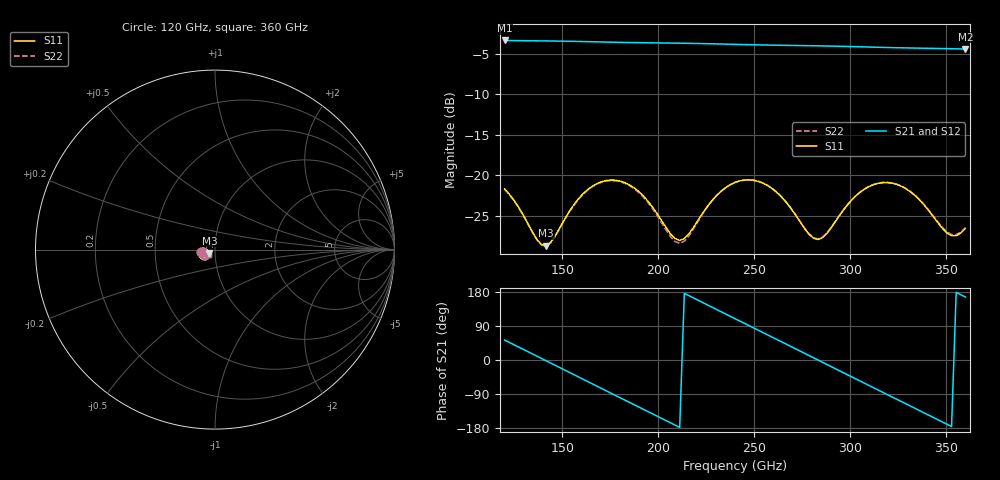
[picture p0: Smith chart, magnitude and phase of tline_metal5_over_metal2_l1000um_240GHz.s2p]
#  GHZ S DB R 50
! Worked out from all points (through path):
!   101 points, 120 GHz to 360 GHz, reference 50 ohm
!   highest |S21| = -3.39 dB at 120 GHz (marker M1); lowest = -4.4 dB at 360 GHz (marker M2)
!   group delay of S21, straight-line fit = 7.02 ps
!   lowest |S11| = -28.7 dB at 141.6 GHz (marker M3), VSWR 1.08, Z = 46.9 - j1.76 ohm
!   |S11| at or under -10 dB: start of sweep to end of sweep
!   |S22| runs from -28.8 to -20.6 dB; largest |S21 - S12| = 7.1e-14
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120  -21.72 -169.6  -3.39 52.6  -3.39 52.6  -21.75 -169.8
132  -25.94 -175.8  -3.42 22.4  -3.42 22.4  -25.97 -176.1
141.6  -28.72 -149.3  -3.45 -1.9  -3.45 -1.9  -28.78 -149.6
160.8  -22.33 -132.5  -3.52 -50.6  -3.52 -50.6  -22.39 -132.8
170.4  -20.83 -146.1  -3.57 -74.9  -3.57 -74.9  -20.89 -146.5
180  -20.73 -161.4  -3.62 -99.1  -3.62 -99.1  -20.81 -161.9
189.6  -21.98 -174.9  -3.66 -123.3  -3.66 -123.3  -22.10 -175.5
201.6  -25.56 179.9  -3.70 -153.6  -3.70 -153.6  -25.81 179.3
211.2  -28.06 -158.5  -3.72 -177.9  -3.72 -177.9  -28.42 -157.4
220.8  -25.56 -136.6  -3.76 157.7  -3.76 157.7  -25.68 -134.8
240  -20.92 -150.9  -3.87 109.1  -3.87 109.1  -20.91 -149.8
249.6  -20.64 -165.2  -3.92 84.9  -3.92 84.9  -20.63 -164.3
259.2  -21.64 -178.4  -3.96 60.7  -3.96 60.7  -21.62 -177.6
271.2  -24.82 174.0  -4.01 30.5  -4.01 30.5  -24.77 174.7
280.8  -27.79 -170.4  -4.04 6.2  -4.04 6.2  -27.72 -169.9
292.8  -25.56 -142.1  -4.10 -24.2  -4.10 -24.2  -25.52 -142.0
304.8  -22.19 -146.3  -4.17 -54.6  -4.17 -54.6  -22.17 -146.1
321.6  -20.99 -168.3  -4.27 -96.9  -4.27 -96.9  -20.97 -168.1
331.2  -22.04 179.7  -4.32 -121.1  -4.32 -121.1  -22.01 -179.9
343.2  -25.10 174.8  -4.37 -151.3  -4.37 -151.3  -25.03 175.1
352.8  -27.48 -168.4  -4.41 -175.6  -4.41 -175.6  -27.35 -168.6
360  -26.59 -150.4  -4.45 166.2  -4.45 166.2  -26.50 -151.0
